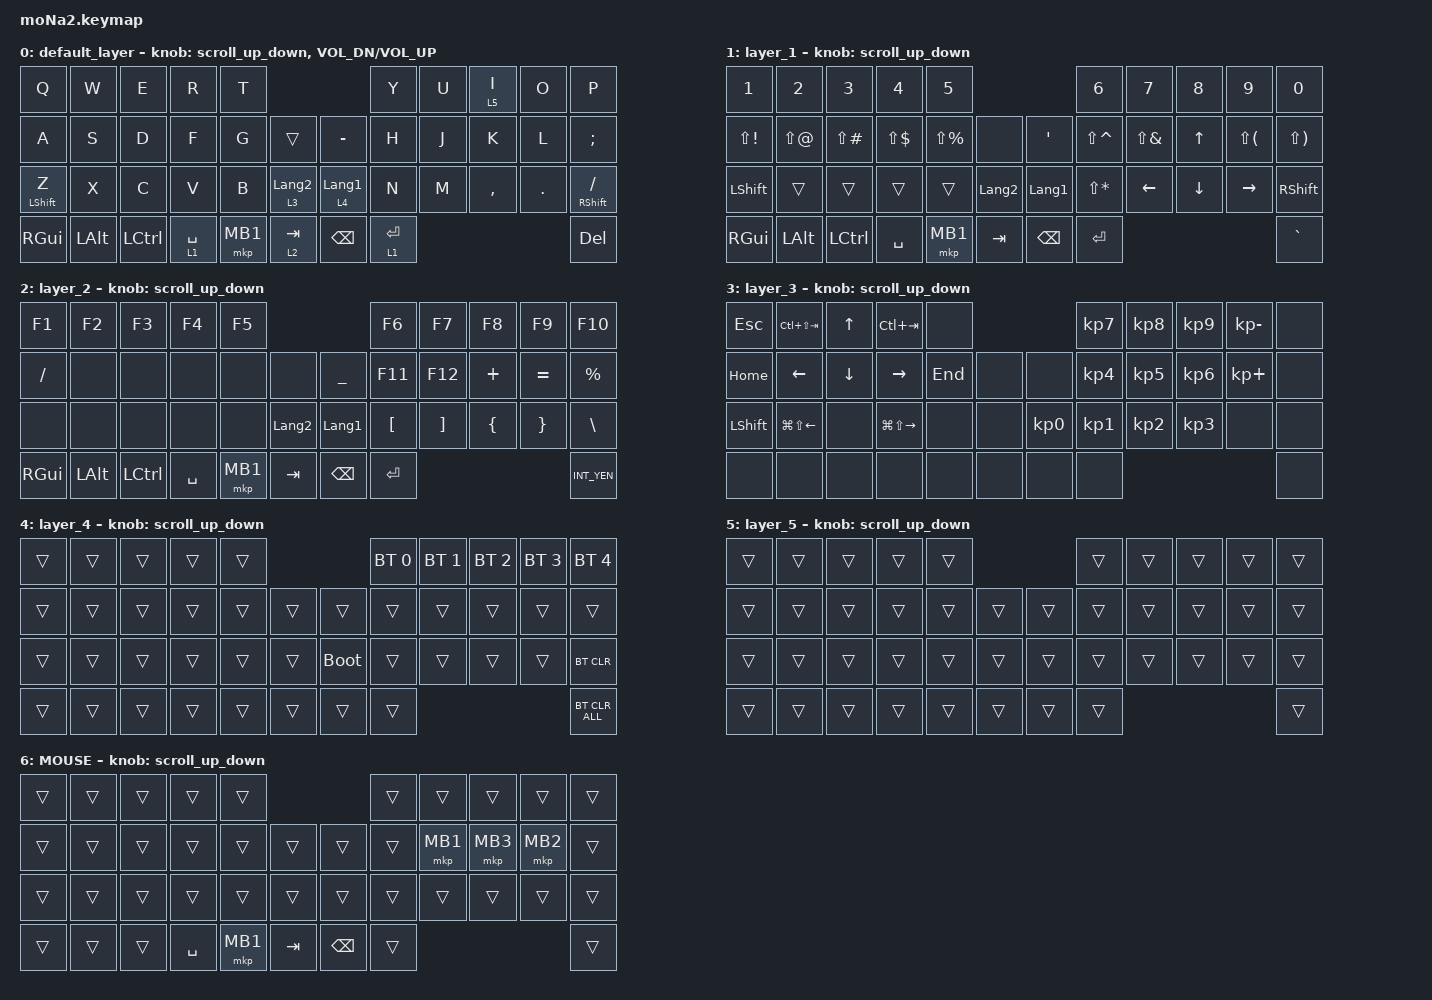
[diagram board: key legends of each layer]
#include <behaviors.dtsi>
#include <dt-bindings/zmk/bt.h>
#include <dt-bindings/zmk/keys.h>
#include <dt-bindings/zmk/pointing.h>

#define ZMK_POINTING_DEFAULT_SCRL_VAL 100
#define MOUSE 6

&mt {
    flavor = "balanced";
    quick-tap-ms = <0>;
};

/ {
    combos {
        compatible = "zmk,combos";

        esc-mod {
            bindings = <&kp ESCAPE>;
            key-positions = <0 1>;
        };

        mb2-mod {
            bindings = <&mkp MB2>;
            key-positions = <39 27>;
        };
    };

    macros {
        to_layer_0: to_layer_0 {
            compatible = "zmk,behavior-macro-one-param";
            #binding-cells = <1>;
            bindings = <&to 0 &macro_param_1to1 &kp MACRO_PLACEHOLDER>;
            label = "TO_LAYER_0";
        };
    };

    behaviors {
        lt_to_layer_0: lt_to_layer_0 {
            compatible = "zmk,behavior-hold-tap";
            label = "LAYER_TAP_TO_0";
            bindings = <&mo>, <&to_layer_0>;

            #binding-cells = <2>;
            tapping-term-ms = <200>;
        };

        scroll_up_down: behavior_sensor_rotate_mouse_wheel_up_down {
            compatible = "zmk,behavior-sensor-rotate";
            #sensor-binding-cells = <0>;
            bindings = <&msc SCRL_UP>, <&msc SCRL_DOWN>;

            tap-ms = <20>;
        };
    };

    keymap {
        compatible = "zmk,keymap";

        default_layer {
            bindings = <
&kp Q             &kp W     &kp E      &kp R        &kp T                                           &kp Y        &kp U  &lt 5 I    &kp O    &kp P
&kp A             &kp S     &kp D      &kp F        &kp G     &trans              &kp MINUS         &kp H        &kp J  &kp K      &kp L    &kp SEMI
&mt LEFT_SHIFT Z  &kp X     &kp C      &kp V        &kp B     &lt 3 LANGUAGE_2    &lt 4 LANGUAGE_1  &kp N        &kp M  &kp COMMA  &kp DOT  &mt RIGHT_SHIFT SLASH
&kp RGUI          &kp LALT  &kp LCTRL  &lt 1 SPACE  &mkp MB1  &lt 2 TAB           &kp BACKSPACE     &lt 1 ENTER                             &kp DEL
            >;

            sensor-bindings =
                <&scroll_up_down>,
                <&inc_dec_kp C_VOL_DN C_VOL_UP>;
        };

        layer_1 {
            bindings = <
&kp N1        &kp N2      &kp N3         &kp N4        &kp N5                                           &kp N6         &kp N7        &kp N8    &kp N9        &kp N0
&kp LS(EXCL)  &kp LS(AT)  &kp LS(POUND)  &kp LS(DLLR)  &kp LS(PRCNT)  &none             &kp SQT         &kp LS(CARET)  &kp LS(AMPS)  &kp UP    &kp LS(LPAR)  &kp LS(RPAR)
&kp LSHFT     &trans      &trans         &trans        &trans         &kp LANGUAGE_2    &kp LANGUAGE_1  &kp LS(STAR)   &kp LEFT      &kp DOWN  &kp RIGHT     &kp RSHFT
&kp RGUI      &kp LALT    &kp LCTRL      &kp SPACE     &mkp MB1       &kp TAB           &kp BSPC        &kp RET                                              &kp GRAVE
            >;

            sensor-bindings = <&scroll_up_down>;
        };

        layer_2 {
            bindings = <
&kp F1     &kp F2    &kp F3     &kp F4     &kp F5                                      &kp F6            &kp F7             &kp F8          &kp F9           &kp F10
&kp SLASH  &none     &none      &none      &none     &none             &kp UNDERSCORE  &kp F11           &kp F12            &kp PLUS        &kp EQUAL        &kp PERCENT
&none      &none     &none      &none      &none     &kp LANGUAGE_2    &kp LANGUAGE_1  &kp LEFT_BRACKET  &kp RIGHT_BRACKET  &kp LEFT_BRACE  &kp RIGHT_BRACE  &kp BACKSLASH
&kp RGUI   &kp LALT  &kp LCTRL  &kp SPACE  &mkp MB1  &kp TAB           &kp BSPC        &kp RET                                                               &kp INT_YEN
            >;

            sensor-bindings = <&scroll_up_down>;
        };

        layer_3 {
            bindings = <
&kp ESCAPE      &kp LC(LS(TAB))         &kp UP_ARROW    &kp LC(TAB)              &none                              &kp KP_NUMBER_7  &kp KP_NUMBER_8  &kp KP_NUMBER_9  &kp KP_MINUS  &none
&kp HOME        &kp LEFT_ARROW          &kp DOWN_ARROW  &kp RIGHT_ARROW          &kp END  &none    &none            &kp KP_NUMBER_4  &kp KP_NUMBER_5  &kp KP_NUMBER_6  &kp KP_PLUS   &none
&kp LEFT_SHIFT  &kp LG(LS(LEFT_ARROW))  &none           &kp LG(LS(RIGHT_ARROW))  &none    &none    &kp KP_NUMBER_0  &kp KP_NUMBER_1  &kp KP_NUMBER_2  &kp KP_NUMBER_3  &none         &none
&none           &none                   &none           &none                    &none    &none    &none            &none                                                            &none
            >;

            sensor-bindings = <&scroll_up_down>;
        };

        layer_4 {
            bindings = <
&trans  &trans  &trans  &trans  &trans                         &bt BT_SEL 0  &bt BT_SEL 1  &bt BT_SEL 2  &bt BT_SEL 3  &bt BT_SEL 4
&trans  &trans  &trans  &trans  &trans  &trans    &trans       &trans        &trans        &trans        &trans        &trans
&trans  &trans  &trans  &trans  &trans  &trans    &bootloader  &trans        &trans        &trans        &trans        &bt BT_CLR
&trans  &trans  &trans  &trans  &trans  &trans    &trans       &trans                                                  &bt BT_CLR_ALL
            >;

            sensor-bindings = <&scroll_up_down>;
        };

        layer_5 {
            bindings = <
&trans  &trans  &trans  &trans  &trans                    &trans  &trans  &trans  &trans  &trans
&trans  &trans  &trans  &trans  &trans  &trans    &trans  &trans  &trans  &trans  &trans  &trans
&trans  &trans  &trans  &trans  &trans  &trans    &trans  &trans  &trans  &trans  &trans  &trans
&trans  &trans  &trans  &trans  &trans  &trans    &trans  &trans                          &trans
            >;

            sensor-bindings = <&scroll_up_down>;
        };

        MOUSE {
            bindings = <
&trans  &trans  &trans  &trans     &trans                              &trans  &trans    &trans    &trans    &trans
&trans  &trans  &trans  &trans     &trans    &trans     &trans         &trans  &mkp MB1  &mkp MB3  &mkp MB2  &trans
&trans  &trans  &trans  &trans     &trans    &trans     &trans         &trans  &trans    &trans    &trans    &trans
&trans  &trans  &trans  &kp SPACE  &mkp MB1  &kp TAB    &kp BACKSPACE  &trans                                &trans
            >;

            sensor-bindings = <&scroll_up_down>;
        };
    };
};
